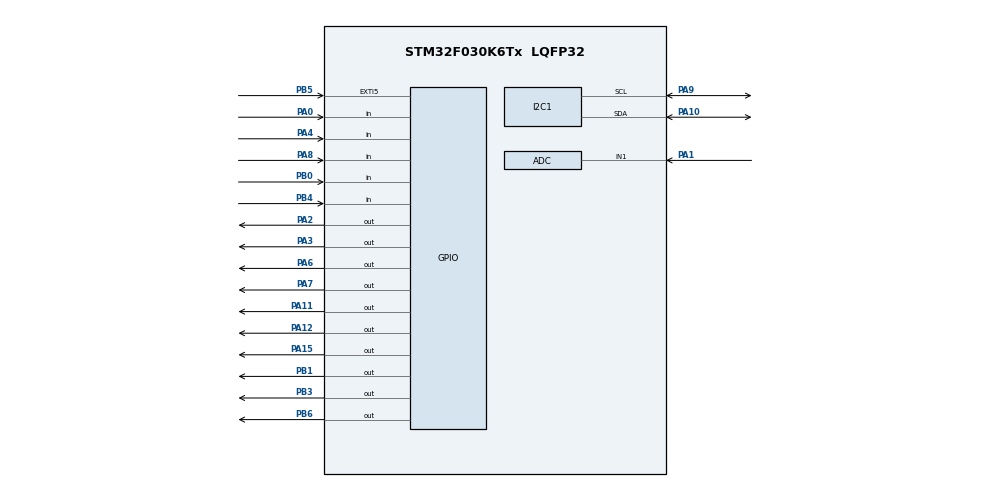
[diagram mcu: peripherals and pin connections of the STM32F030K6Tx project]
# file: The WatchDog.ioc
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ADC.Resolution=ADC_RESOLUTION_10B
Mcu.Family=STM32F0
Mcu.Name=STM32F030K6Tx
Mcu.Package=LQFP32
PA0.GPIO_PuPd=GPIO_PULLUP
PA0.Signal=GPIO_Input
PA1.Signal=SharedAnalog_PA1
PA10.Mode=I2C
PA10.Signal=I2C1_SDA
PA11.Signal=GPIO_Output
PA12.Signal=GPIO_Output
PA13.Mode=Serial_Wire
PA13.Signal=SYS_SWDIO
PA14.Mode=Serial_Wire
PA14.Signal=SYS_SWCLK
PA15.Signal=GPIO_Output
PA2.Signal=GPIO_Output
PA3.Signal=GPIO_Output
PA4.GPIO_PuPd=GPIO_PULLUP
PA4.Signal=GPIO_Input
PA6.Signal=GPIO_Output
PA7.Signal=GPIO_Output
PA8.GPIO_PuPd=GPIO_PULLUP
PA8.Signal=GPIO_Input
PA9.Mode=I2C
PA9.Signal=I2C1_SCL
PB0.GPIO_PuPd=GPIO_PULLUP
PB0.Signal=GPIO_Input
PB1.Signal=GPIO_Output
PB3.Signal=GPIO_Output
PB4.GPIO_PuPd=GPIO_PULLUP
PB4.Signal=GPIO_Input
PB5.Signal=GPXTI5
PB6.Signal=GPIO_Output
ProjectManager.HeapSize=0x200
ProjectManager.StackSize=0x400
ProjectManager.TargetToolchain=STM32CubeIDE
SH.SharedAnalog_PA1.0=GPIO_Analog
SH.SharedAnalog_PA1.1=ADC_IN1,IN1
board=custom

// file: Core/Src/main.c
/* USER CODE BEGIN Header */
/**
  ******************************************************************************
  * @file           : main.c
  *
  * Sebkabob's WatchDog Code
  * 2024
  *
  * @brief          : Main program body
  ******************************************************************************
  *
  * The WatchDog is a small security tag that detect movements with its built in
  * Inertia Measurement Unit, when a movement is detected, the WatchDog will sound
  * an alarm to alert everyone nearby that the tag is being tampered with
  *
  ******************************************************************************
  */
/* USER CODE END Header */
#include "main.h"
#include "adc.h"
#include "i2c.h"
#include "gpio.h"

/* USER CODE BEGIN Includes */
#include "lis3dh_reg.h"
#include <string.h>
#include <stdio.h>

#define SENSOR_BUS hi2c1

float BatVol;

int bN[4];

int TimOut = 0;

uint8_t *bufp1;

#define LIS3DH_ADDRESS 0x18

static uint8_t whoamI;

int debounce = 250;

static int16_t data_raw_acceleration[3];
static int16_t data_raw_temperature;
static float acceleration_mg[3];
static float temperature_degC;

int theCode(int N1, int N2, int N3, int N4) {
    // Check if the light state is equal to the code input to the function
    if ((HAL_GPIO_ReadPin(GPIOA, GPIO_PIN_11) != N1) && (HAL_GPIO_ReadPin(GPIOB, GPIO_PIN_6) != N2)
    	&& (HAL_GPIO_ReadPin(GPIOA, GPIO_PIN_7) != N3) && (HAL_GPIO_ReadPin(GPIOA, GPIO_PIN_6) != N4)) {
        return 1;
    } else {
        return 0;
    }
}

int ButtonToDec() {
	int d = 0;
	if (HAL_GPIO_ReadPin(GPIOA, GPIO_PIN_11) == 0) {
		d = d + 1;
	}
	if (HAL_GPIO_ReadPin(GPIOB, GPIO_PIN_6) == 0) {
		d = d + 2;
	}
	if (HAL_GPIO_ReadPin(GPIOA, GPIO_PIN_7) == 0) {
		d = d + 4;
	}
	if (HAL_GPIO_ReadPin(GPIOA, GPIO_PIN_6) == 0) {
		d = d + 8;
	}
	return d;
}

void allState(int state) {
	  HAL_GPIO_WritePin(GPIOA, GPIO_PIN_2, state);
	  HAL_GPIO_WritePin(GPIOA, GPIO_PIN_6, state);
	  HAL_GPIO_WritePin(GPIOA, GPIO_PIN_7, state);
	  HAL_GPIO_WritePin(GPIOA, GPIO_PIN_11, state);
	  HAL_GPIO_WritePin(GPIOA, GPIO_PIN_12, state);
	  HAL_GPIO_WritePin(GPIOB, GPIO_PIN_1, state);
	  HAL_GPIO_WritePin(GPIOB, GPIO_PIN_6, state);
}

void BeepX(float seconds, float beepNumPerSecond) {
	float j = seconds * beepNumPerSecond;
	float t = 1000.0 / beepNumPerSecond;
	float x = t/2.0;
	for (float i = 0; i <= j; i++){
		HAL_GPIO_WritePin(GPIOA, GPIO_PIN_3, 1);
		HAL_Delay(x);
		HAL_GPIO_WritePin(GPIOA, GPIO_PIN_3, 0);
		HAL_Delay(x);
	}
}

void buttonsNlights() {
	if (HAL_GPIO_ReadPin(GPIOA, GPIO_PIN_8) == 0)
	{
		HAL_GPIO_TogglePin(GPIOA, GPIO_PIN_11);
		HAL_Delay(debounce);
		TimOut = 0;
	}
	if (HAL_GPIO_ReadPin(GPIOB, GPIO_PIN_4) == 0)
	{
		HAL_GPIO_TogglePin(GPIOB, GPIO_PIN_6);
		HAL_Delay(debounce);
		TimOut = 0;
	}
	if (HAL_GPIO_ReadPin(GPIOB, GPIO_PIN_0) == 0)
	{
		HAL_GPIO_TogglePin(GPIOA, GPIO_PIN_7);
		HAL_Delay(debounce);
		TimOut = 0;
	}
	if (HAL_GPIO_ReadPin(GPIOA, GPIO_PIN_4) == 0)
	{
		HAL_GPIO_TogglePin(GPIOA, GPIO_PIN_6);
		HAL_Delay(debounce);
		TimOut = 0;
	}
}

void ErrorSound() {
	BeepX(0.5,698);
	BeepX(0.5,520);
	BeepX(0.5,350);
	HAL_Delay(1000);
}

void GoodSound() {
	BeepX(0.5,520);
	BeepX(0.5,660);
	BeepX(0.5,780);
	HAL_Delay(500);
}

void BatteryInBinary() {
	  HAL_GPIO_WritePin(GPIOA, GPIO_PIN_15, 1);
	  HAL_ADC_Start(&hadc);
	  BatVol = HAL_ADC_GetValue(&hadc);
	  BatVol = BatVol / 100;
	  //BatVol = 5;
	  decimalToBinary(BatVol);
	  BarSet(bN[0],bN[1],bN[2],bN[3]);
	  HAL_ADC_Stop(&hadc);
	  HAL_GPIO_WritePin(GPIOA, GPIO_PIN_15, 0);
}
//((analog reading 0-1024) * 0.00322)/0.787 = +BAT

int8_t twiScan() {
	for (uint8_t i = 0; i < 128; i++) {
		if (HAL_I2C_IsDeviceReady(&hi2c1, (uint16_t)(i<<1), 3, 5) == HAL_OK) {
			  // We got an ack
			if (i == LIS3DH_ADDRESS) {
				return 1;
			}
		}
	}
	return 0;
}

//static uint8_t tx_buffer[1000];

/** Please note that is MANDATORY: return 0 -> no Error.**/
int32_t platform_write(void *handle, uint8_t reg, const uint8_t *bufp, uint16_t len) {
	reg |= 0x80;
	HAL_I2C_Mem_Write(handle, 0x30, reg, 1, (uint8_t*) bufp, len, 1000); //define 8bit
}

int32_t platform_read(void *handle, uint8_t reg, uint8_t *bufp, uint16_t len) {
	reg |= 0x80;
	HAL_I2C_Mem_Read(handle, 0x30, reg, 1, bufp, len, 1000);
}

/** Optional (may be required by driver) **/
void platform_delay(uint32_t millisec) {
	HAL_Delay(millisec);
}

void UpdateValues(void)
{
  stmdev_ctx_t dev_ctx;
  dev_ctx.write_reg = platform_write;
  dev_ctx.read_reg = platform_read;
  dev_ctx.mdelay = platform_delay;
  dev_ctx.handle = &SENSOR_BUS;
  platform_delay(10);
  lis3dh_device_id_get(&dev_ctx, &whoamI);

  if (whoamI != LIS3DH_ID) {
    while (1) {
    	ErrorSound();
    }
  }

  /* Enable Block Data Update. */
  lis3dh_block_data_update_set(&dev_ctx, PROPERTY_ENABLE);
  /* Set Output Data Rate to 1Hz. */
  lis3dh_data_rate_set(&dev_ctx, LIS3DH_ODR_10Hz);
  /* Set full scale to 2g. */
  lis3dh_full_scale_set(&dev_ctx, LIS3DH_2g);
  /* Enable temperature sensor. */
  lis3dh_aux_adc_set(&dev_ctx, LIS3DH_AUX_ON_TEMPERATURE);
  /* Set device in continuous mode with 12 bit resol. */
  lis3dh_operating_mode_set(&dev_ctx, LIS3DH_HR_12bit);

  lis3dh_reg_t reg;
  /* Read output only if new value available */
  lis3dh_xl_data_ready_get(&dev_ctx, &reg.byte);

    if (reg.byte) {
      memset(data_raw_acceleration, 0x00, 3 * sizeof(int16_t));
      lis3dh_acceleration_raw_get(&dev_ctx, data_raw_acceleration);
      acceleration_mg[0] =
        lis3dh_from_fs2_hr_to_mg(data_raw_acceleration[0]);
      acceleration_mg[1] =
        lis3dh_from_fs2_hr_to_mg(data_raw_acceleration[1]);
      acceleration_mg[2] =
        lis3dh_from_fs2_hr_to_mg(data_raw_acceleration[2]);
    }

    lis3dh_temp_data_ready_get(&dev_ctx, &reg.byte);

    if (reg.byte) {
      /* Read temperature data */
      memset(&data_raw_temperature, 0x00, sizeof(int16_t));
      lis3dh_temperature_raw_get(&dev_ctx, &data_raw_temperature);
      temperature_degC = lis3dh_from_lsb_hr_to_celsius(data_raw_temperature);
    }
}

int BarSet(int n1, int n2, int n3, int n4) {
	  HAL_GPIO_WritePin(GPIOA, GPIO_PIN_11, !n1);
	  HAL_GPIO_WritePin(GPIOB, GPIO_PIN_6, !n2);
	  HAL_GPIO_WritePin(GPIOA, GPIO_PIN_7, !n3);
	  HAL_GPIO_WritePin(GPIOA, GPIO_PIN_6, !n4);
}

void TempLightBar() {
	  UpdateValues();
	  if (temperature_degC > 35) {
		  BarSet(1,1,1,1);
	  } else if (temperature_degC > 32) {
		  BarSet(0,1,1,1);
	  } else if (temperature_degC > 29) {
		  BarSet(0,0,1,1);
	  } else if (temperature_degC > 27.5) {
		  BarSet(0,0,0,1);
	  } else if (temperature_degC < 27.5) {
		  BarSet(0,0,0,0);
	  }
}

int decimalToBinary(int n) {
    int i = 0;
    while (n > 0) {
        // Storing remainder in binary array
    	bN[i] = n % 2;
        n = n / 2;
        i++;
    }
}

void OnAnimation() {
	int delyuh = 70;
	BarSet(0,0,0,1);
	HAL_Delay(delyuh);
	BarSet(0,0,1,1);
	HAL_Delay(delyuh);
	BarSet(0,1,1,0);
	HAL_Delay(delyuh);
	BarSet(1,1,0,0);
	HAL_Delay(delyuh);
	BarSet(1,0,0,1);
	HAL_Delay(delyuh);
	BarSet(0,0,1,1);
	HAL_Delay(delyuh);
	BarSet(0,1,1,0);
	HAL_Delay(delyuh);
	BarSet(1,1,0,0);
	HAL_Delay(delyuh);
	BarSet(1,0,0,0);
	HAL_Delay(delyuh);
	BarSet(0,0,0,0);
	HAL_Delay(delyuh);
}
void OffAnimation() {
	int delyuh = 70;
	BarSet(1,0,0,0);
	HAL_Delay(delyuh);
	BarSet(1,1,0,0);
	HAL_Delay(delyuh);
	BarSet(0,1,1,0);
	HAL_Delay(delyuh);
	BarSet(0,0,1,1);
	HAL_Delay(delyuh);
	BarSet(1,0,0,1);
	HAL_Delay(delyuh);
	BarSet(1,1,0,0);
	HAL_Delay(delyuh);
	BarSet(0,1,1,0);
	HAL_Delay(delyuh);
	BarSet(0,0,1,1);
	HAL_Delay(delyuh);
	BarSet(0,0,0,1);
	HAL_Delay(delyuh);
	BarSet(0,0,0,0);
	HAL_Delay(delyuh);
}

void stmSTOP() { //230% more power efficient than normal mode!
	GPIO_InitTypeDef GPIO_Init = {0};
    GPIO_Init.Pin          = GPIO_PIN_0;
    GPIO_Init.Mode         = GPIO_MODE_EVT_FALLING;
    GPIO_Init.Pull         = GPIO_PULLUP;
    HAL_GPIO_Init(GPIOA, &GPIO_Init);

    HAL_PWR_EnterSTOPMode(PWR_LOWPOWERREGULATOR_ON, PWR_SLEEPENTRY_WFE);

    //Device is in stop mode

    SystemInit();
    HAL_GPIO_DeInit(GPIOA, GPIO_PIN_0);

    GPIO_Init.Pin          = GPIO_PIN_0;
    GPIO_Init.Mode         = GPIO_MODE_INPUT;
    GPIO_Init.Pull         = GPIO_PULLUP;
    HAL_GPIO_Init(GPIOA, &GPIO_Init);
    OnAnimation();
    HAL_Delay(200);
}

void stmSTANDBY() {
	 if (!__HAL_PWR_GET_FLAG(PWR_FLAG_WU)) {
			HAL_Delay(500);

			HAL_PWR_DisableWakeUpPin(PWR_WAKEUP_PIN1);
			__HAL_PWR_CLEAR_FLAG(PWR_FLAG_WU);
			HAL_PWR_EnableWakeUpPin(PWR_WAKEUP_PIN1);

			HAL_PWR_EnterSTANDBYMode();

	  } else {

			HAL_PWR_DisableWakeUpPin(PWR_WAKEUP_PIN1);
		    OnAnimation();

	  }
}

void BatteryVoltage() {
	  HAL_GPIO_WritePin(GPIOA, GPIO_PIN_15, 1);
	  HAL_ADC_Start(&hadc);
	  int analogVol = HAL_ADC_GetValue(&hadc);
	  float tmp = analogVol * 0.00322;
	  BatVol = tmp / 0.787;
	  HAL_ADC_Stop(&hadc);
	  HAL_GPIO_WritePin(GPIOA, GPIO_PIN_15, 0);
	  int delayee = 100;
	  if (BatVol > 3.90) {
		  BarSet(0,0,0,1);
		  HAL_Delay(delayee);
		  BarSet(0,0,1,1);
		  HAL_Delay(delayee);
		  BarSet(0,1,1,1);
		  HAL_Delay(delayee);
		  BarSet(1,1,1,1);
		  HAL_Delay(delayee*10);
		  BarSet(0,1,1,1);
		  HAL_Delay(delayee);
		  BarSet(0,0,1,1);
		  HAL_Delay(delayee);
		  BarSet(0,0,0,1);
		  HAL_Delay(delayee);
		  BarSet(0,0,0,0);
	  }
	  else if (BatVol > 3.74) {
		  BarSet(0,0,0,1);
		  HAL_Delay(delayee);
		  BarSet(0,0,1,1);
		  HAL_Delay(delayee);
		  BarSet(0,1,1,1);
		  HAL_Delay(delayee*10);
		  BarSet(0,0,1,1);
		  HAL_Delay(delayee);
		  BarSet(0,0,0,1);
		  HAL_Delay(delayee);
		  BarSet(0,0,0,0);
	  }
	  else if (BatVol > 3.65) {
		  BarSet(0,0,0,1);
		  HAL_Delay(delayee);
		  BarSet(0,0,1,1);
		  HAL_Delay(delayee*10);
		  BarSet(0,0,0,1);
		  HAL_Delay(delayee);
		  BarSet(0,0,0,0);
	  }
	  else if (BatVol > 3.4) {
		  BarSet(0,0,0,1);
		  HAL_Delay(delayee*10);
		  BarSet(0,0,0,0);
	  }
	  else if (BatVol < 3.4) {
		  BarSet(0,0,0,1);
		  HAL_Delay(delayee*2);
		  BarSet(0,0,0,0);
		  HAL_Delay(delayee*2);
		  BarSet(0,0,0,1);
		  HAL_Delay(delayee*2);
		  BarSet(0,0,0,0);
		  HAL_Delay(delayee*2);
		  BarSet(0,0,0,1);
		  HAL_Delay(delayee*2);
		  BarSet(0,0,0,0);
	  }
	  HAL_Delay(200);
	  allState(1);
}

void AccelDetectingLights(int sensitivity) {
	  BarSet(1,1,1,1);
	  HAL_Delay(500);
	  BarSet(0,1,1,1);
	  HAL_Delay(500);
	  BarSet(0,0,1,1);
	  HAL_Delay(500);
	  BarSet(0,0,0,1);
	  HAL_Delay(500);
	  BarSet(0,0,0,0);
	  UpdateValues();
	  int Xinit = acceleration_mg[0];
	  int Yinit = acceleration_mg[1];
	  int Zinit = acceleration_mg[2];
	  int j = 1;
	  HAL_Delay(200);
	  while (j == 1) {
		  UpdateValues();
		  HAL_Delay(50);
		  int Xcurr = acceleration_mg[0];
		  int Ycurr = acceleration_mg[1];
		  int Zcurr = acceleration_mg[2];
		  int Trig5 = 60 * sensitivity;
		  int Trig4 = 50 * sensitivity;
		  int Trig3 = 40 * sensitivity;
		  int Trig2 = 30 * sensitivity;
		  int Trig1 = 20 * sensitivity;
//		  if (HAL_GPIO_ReadPin(GPIOA, GPIO_PIN_8) == 0){
//			  int i = 0;
//			  int j = 0;
//			  int k = 0;
//			  if (HAL_GPIO_ReadPin(GPIOB, GPIO_PIN_4) == 0 && i > 150) {
//				  HAL_Delay(10);
//				  if (HAL_GPIO_ReadPin(GPIOB, GPIO_PIN_0) == 0 && j > 150) {
//					  HAL_Delay(10);
//					  if (HAL_GPIO_ReadPin(GPIOA, GPIO_PIN_4) == 0 && k > 150) {
//						  return 1;
//					  }
//					  j=j+1;
//				  }
//				  i=i+1;
//			  }
//		  }
		  if (Xcurr - Xinit > Trig5 || Ycurr - Yinit > Trig5 || Zcurr - Zinit > Trig5) {
			  allState(0);
			  BeepX(0.5,45);
			  //HAL_Delay(500);
			  allState(1);
			  //HAL_Delay(500);
			  //j = 2;
		  }
		  else if (Xcurr - Xinit > Trig4 || Ycurr - Yinit > Trig4 || Zcurr - Zinit > Trig4) {
			  BarSet(1,1,1,1);
		  }
		  else if (Xcurr - Xinit > Trig3 || Ycurr - Yinit > Trig3 || Zcurr - Zinit > Trig3) {
			  BarSet(0,1,1,1);
		  }
		  else if (Xcurr - Xinit > Trig2 || Ycurr - Yinit > Trig2 || Zcurr - Zinit > Trig2) {
			  BarSet(0,0,1,1);
		  }
		  else if (Xcurr - Xinit > Trig1 || Ycurr - Yinit > Trig1 || Zcurr - Zinit > Trig1) {
			  BarSet(0,0,0,1);
		  }
		  else if (Xcurr - Xinit < Trig1 || Ycurr - Yinit < Trig1 || Zcurr - Zinit < Trig1) {
			  BarSet(0,0,0,0);
		  }

	  }
}

void AccelDetecting(int sensitivity) {
	  BarSet(1,1,1,1);
	  HAL_Delay(500);
	  BarSet(0,1,1,1);
	  HAL_Delay(500);
	  BarSet(0,0,1,1);
	  HAL_Delay(500);
	  BarSet(0,0,0,1);
	  HAL_Delay(500);
	  BarSet(0,0,0,0);
	  UpdateValues();
	  int Xinit = acceleration_mg[0];
	  int Yinit = acceleration_mg[1];
	  int Zinit = acceleration_mg[2];
	  int j = 1;
	  HAL_Delay(200);
	  while (j == 1) {
		  UpdateValues();
		  HAL_Delay(50);
		  int Xcurr = acceleration_mg[0];
		  int Ycurr = acceleration_mg[1];
		  int Zcurr = acceleration_mg[2];
		  int Trig5 = 60 * sensitivity;
		  if (Xcurr - Xinit > Trig5 || Ycurr - Yinit > Trig5 || Zcurr - Zinit > Trig5) {
			  allState(0);
			  BeepX(0.5,45);
			  //HAL_Delay(500);
			  allState(1);
			  //HAL_Delay(500);
			  //j = 2;
		  }
	  }
}

///////////////////////////////////////////////////////////////////

/* USER CODE END Includes */

void SystemClock_Config(void);

int main(void)
{
  allState(1);

  /* MCU Configuration--------------------------------------------------------*/

  /* Reset of all peripherals, Initializes the Flash interface and the Systick. */
  HAL_Init();

  /* Configure the system clock */
  SystemClock_Config();

  /* Initialize all configured peripherals */
  MX_GPIO_Init();
  MX_I2C1_Init();
  MX_ADC_Init();
  /* USER CODE BEGIN 2 */

  allState(1);
//  GPIO_InitTypeDef GPIO_Init = {0};
//  GPIO_Init.Pin          = GPIO_PIN_0;
//  GPIO_Init.Mode         = GPIO_MODE_EVT_FALLING;
//  GPIO_Init.Pull         = GPIO_PULLUP;
//  HAL_GPIO_Init(GPIOA, &GPIO_Init);
//
//  HAL_SuspendTick();
//  HAL_PWR_EnterSLEEPMode(PWR_MAINREGULATOR_ON, PWR_SLEEPENTRY_WFE);
//
//  //Device is asleep
//
//  HAL_ResumeTick();
//  HAL_GPIO_DeInit(GPIOA, GPIO_PIN_0);

  stmSTANDBY();
  /* USER CODE END 2 */

  /* Infinite loop */
  /* USER CODE BEGIN WHILE */
  //TO DO: 	Better understand the accel values
  //		STOP mode for detecting motion
  //		STANDBY mode for when turned off
  //		Battery Voltage Detection

  while (1)
  {
	  TimOut = 0;
	  while (TimOut < 150) { //if nothing happens, the STM goes back to sleep until its awakened again
		  // Converts button presses to LED toggles
		  //HAL_GPIO_WritePin(GPIOB, GPIO_PIN_1,0);
		  HAL_Delay(50);
		  buttonsNlights();
		  // If a code is entered, will convert from binary to decimal (sensitivity level 1-15)
		  if (HAL_GPIO_ReadPin(GPIOA, GPIO_PIN_0) == 0 && theCode(0,0,0,0) != 1) {
			  int sense = ButtonToDec();
			  AccelDetecting(sense);
			  allState(1);
			  TimOut = 0;
		  // If no code entered, will display the temperature of the board with the 4 LEDs
		  } else if (HAL_GPIO_ReadPin(GPIOA, GPIO_PIN_0) == 0 && theCode(0,0,0,0)){
			  //TempLightBar();
			  BatteryVoltage();
			  TimOut = 0;
		  }
		  TimOut = TimOut + 1;
	  }
	  OffAnimation();
	  allState(1);
	  stmSTOP();
  }

//enter code
	  //code directs to mode    -    if not real code, go back to enter code
	  //mode waits for interrupt
	  //when interrupt -> wait 3 seconds -> alarm state
	  //gives 3 seconds before alarm state to enterCode();
	  //

    /* USER CODE END WHILE */

}

void SystemClock_Config(void)
{
  RCC_OscInitTypeDef RCC_OscInitStruct = {0};
  RCC_ClkInitTypeDef RCC_ClkInitStruct = {0};
  RCC_PeriphCLKInitTypeDef PeriphClkInit = {0};

  /** Initializes the RCC Oscillators according to the specified parameters
  * in the RCC_OscInitTypeDef structure.
  */
  RCC_OscInitStruct.OscillatorType = RCC_OSCILLATORTYPE_HSI|RCC_OSCILLATORTYPE_HSI14;
  RCC_OscInitStruct.HSIState = RCC_HSI_ON;
  RCC_OscInitStruct.HSI14State = RCC_HSI14_ON;
  RCC_OscInitStruct.HSICalibrationValue = RCC_HSICALIBRATION_DEFAULT;
  RCC_OscInitStruct.HSI14CalibrationValue = 16;
  RCC_OscInitStruct.PLL.PLLState = RCC_PLL_NONE;
  if (HAL_RCC_OscConfig(&RCC_OscInitStruct) != HAL_OK)
  {
    Error_Handler();
  }

  /** Initializes the CPU, AHB and APB buses clocks
  */
  RCC_ClkInitStruct.ClockType = RCC_CLOCKTYPE_HCLK|RCC_CLOCKTYPE_SYSCLK
                              |RCC_CLOCKTYPE_PCLK1;
  RCC_ClkInitStruct.SYSCLKSource = RCC_SYSCLKSOURCE_HSI;
  RCC_ClkInitStruct.AHBCLKDivider = RCC_SYSCLK_DIV1;
  RCC_ClkInitStruct.APB1CLKDivider = RCC_HCLK_DIV1;

  if (HAL_RCC_ClockConfig(&RCC_ClkInitStruct, FLASH_LATENCY_0) != HAL_OK)
  {
    Error_Handler();
  }
  PeriphClkInit.PeriphClockSelection = RCC_PERIPHCLK_I2C1;
  PeriphClkInit.I2c1ClockSelection = RCC_I2C1CLKSOURCE_HSI;
  if (HAL_RCCEx_PeriphCLKConfig(&PeriphClkInit) != HAL_OK)
  {
    Error_Handler();
  }
}

void Error_Handler(void)
{
  __disable_irq();
  while (1)
  {
  }
}
